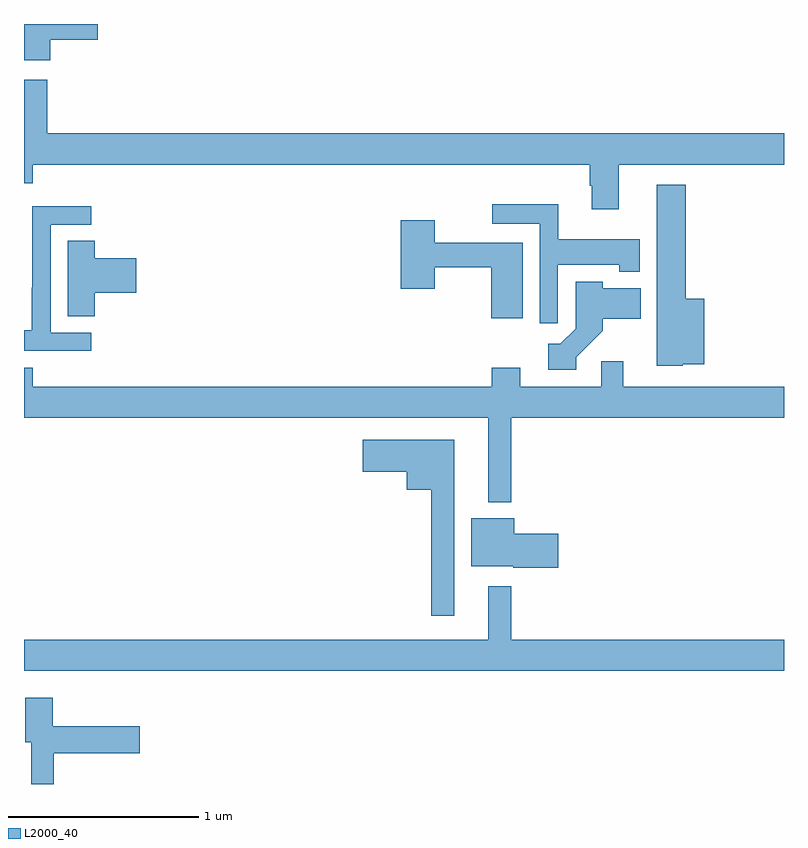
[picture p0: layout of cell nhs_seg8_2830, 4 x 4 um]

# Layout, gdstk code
import gdstk
lib = gdstk.Library(unit=1e-6, precision=1e-09)
def P(c, l, *ps):  # polygons
    for p in ps: c.add(gdstk.Polygon(p, *l))
L2000_40 = (2000, 40)

nhs_seg8_2830 = lib.new_cell('nhs_seg8_2830')
P(nhs_seg8_2830, L2000_40, [(289.138,1123.816),(289.387,1123.816),(289.387,1123.9),(289,1123.9),(289,1123.709),(289.138,1123.709)],
  [(292.129,1123.16),(293,1123.16),(293,1123.324),(289.123,1123.324),(289.123,1123.606),(289.001,1123.606),(289.001,1123.324),(289,1123.324),(289,1123.061),(289.046,1123.061),(289.046,1123.16),(291.977,1123.16),(291.977,1123.05),(291.989,1123.05),(291.989,1122.924),(292.129,1122.924)],
  [(292.467,1122.11),(292.579,1122.11),(292.579,1122.454),(292.484,1122.454),(292.484,1123.054),(292.331,1123.054),(292.331,1122.101),(292.467,1122.101)],
  [(291.81,1122.632),(292.134,1122.632),(292.134,1122.596),(292.242,1122.596),(292.242,1122.766),(291.811,1122.766),(291.811,1122.952),(291.465,1122.952),(291.465,1122.848),(291.714,1122.848),(291.714,1122.324),(291.81,1122.324)],
  [(289.354,1122.276),(289.14,1122.276),(289.14,1122.843),(289.354,1122.843),(289.354,1122.942),(289.044,1122.942),(289.044,1122.512),(289.042,1122.512),(289.042,1122.289),(289,1122.289),(289,1122.18),(289.354,1122.18)],
  [(291.625,1122.748),(291.162,1122.748),(291.162,1122.868),(290.984,1122.868),(290.984,1122.507),(291.162,1122.507),(291.162,1122.619),(291.458,1122.619),(291.458,1122.351),(291.625,1122.351)],
  [(289.373,1122.485),(289.591,1122.485),(289.591,1122.668),(289.373,1122.668),(289.373,1122.758),(289.229,1122.758),(289.229,1122.361),(289.373,1122.361)],
  [(291.906,1122.147),(292.045,1122.286),(292.045,1122.35),(292.246,1122.35),(292.246,1122.508),(292.045,1122.508),(292.045,1122.544),(291.903,1122.544),(291.903,1122.297),(291.823,1122.217),(291.759,1122.217),(291.759,1122.081),(291.906,1122.081)],
  [(291.565,1121.828),(293,1121.828),(293,1121.992),(292.153,1121.992),(292.153,1122.124),(292.038,1122.124),(292.038,1121.992),(291.613,1121.992),(291.613,1122.091),(291.461,1122.091),(291.461,1121.992),(289.046,1121.992),(289.046,1122.091),(289,1122.091),(289,1121.828),(291.443,1121.828),(291.443,1121.384),(291.565,1121.384)],
  [(291.265,1121.713),(290.784,1121.713),(290.784,1121.543),(291.014,1121.543),(291.014,1121.45),(291.144,1121.45),(291.144,1120.785),(291.265,1120.785)],
  [(291.811,1121.216),(291.58,1121.216),(291.58,1121.299),(291.353,1121.299),(291.353,1121.045),(291.576,1121.045),(291.576,1121.038),(291.811,1121.038)],
  [(293,1120.66),(291.565,1120.66),(291.565,1120.942),(291.443,1120.942),(291.443,1120.66),(289,1120.66),(289,1120.496),(293,1120.496)],
  [(289.156,1120.061),(289.609,1120.061),(289.609,1120.203),(289.151,1120.203),(289.151,1120.354),(289.007,1120.354),(289.007,1120.121),(289.037,1120.121),(289.037,1119.9),(289.156,1119.9)])

lib.write_gds('nhs_seg8_2830.gds')
